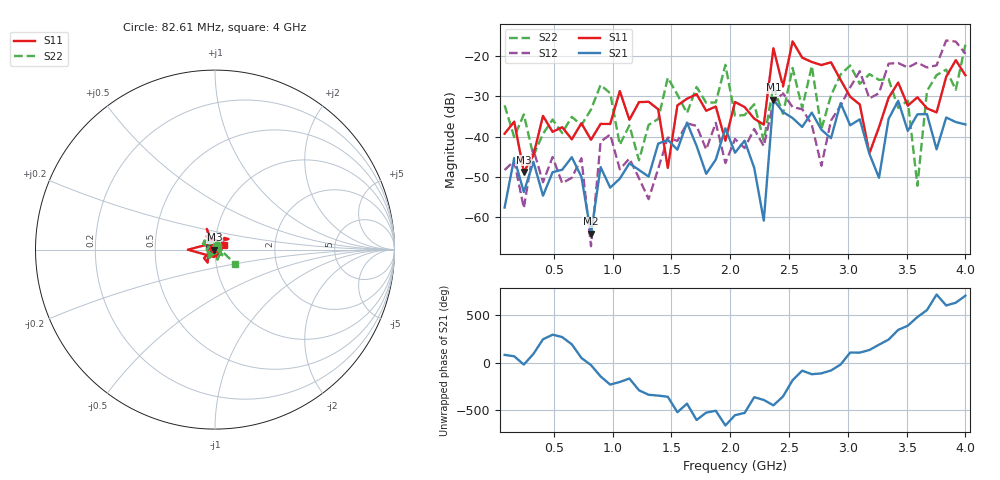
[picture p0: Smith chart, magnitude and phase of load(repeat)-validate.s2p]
!Created with skrf (http://scikit-rf.org).
# GHz S DB R 50.0
!freq dBS11 angS11 dBS21 angS21 dBS12 angS12 dBS22 angS22
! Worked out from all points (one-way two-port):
!   49 points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, 82.61 MHz to 4 GHz, reference 50 ohm
!   highest |S21| = -30.84 dB at 2.368 GHz (marker M1); lowest = -64.1 dB at 817.1 MHz (marker M2)
!   lowest |S11| = -48.8 dB at 245.8 MHz (marker M3), VSWR 1.01, Z = 49.6 - j0.044 ohm
!   |S11| at or under -10 dB: start of sweep to end of sweep
!   |S22| runs from -52.2 to -17.2 dB; largest |S21 - S12| = 0.14
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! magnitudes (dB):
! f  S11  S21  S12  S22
! 82.61 MHz  -39.3  -57.6  -48.3  -32.2
! 245.8 MHz  -48.8  -53.8  -57.7  -34.5
! 327.4 MHz  -44.6  -46.2  -43.3  -44.7
! 735.5 MHz  -36.7  -50.0  -45.4  -37.2
! 817.1 MHz  -40.8  -64.1  -67.2  -33.3
! 898.7 MHz  -36.9  -47.6  -41.3  -27.2
! 1.225 GHz  -31.5  -48.3  -50.3  -45.9
! 1.388 GHz  -33.2  -41.8  -48.0  -35.6
! 1.47 GHz  -47.8  -40.8  -40.2  -25.4
! 1.552 GHz  -32.3  -43.3  -41.1  -29.6
! 1.96 GHz  -41.0  -38.0  -46.6  -22.2
! 2.041 GHz  -31.4  -44.0  -40.6  -34.8
! 2.286 GHz  -37.0  -60.8  -42.4  -41.0
! 2.368 GHz  -18.1  -30.8  -31.6  -27.5
! 2.694 GHz  -21.5  -34.1  -37.0  -22.5
! 2.776 GHz  -22.3  -38.3  -47.2  -38.2
! 3.184 GHz  -44.2  -44.3  -30.5  -24.5
! 3.429 GHz  -26.6  -31.1  -21.8  -32.9
! 3.51 GHz  -32.3  -38.6  -22.9  -31.1
! 3.592 GHz  -30.3  -34.5  -21.7  -52.2
! 3.674 GHz  -33.0  -34.4  -22.9  -28.7
! 4 GHz  -24.8  -37.0  -19.4  -17.2
